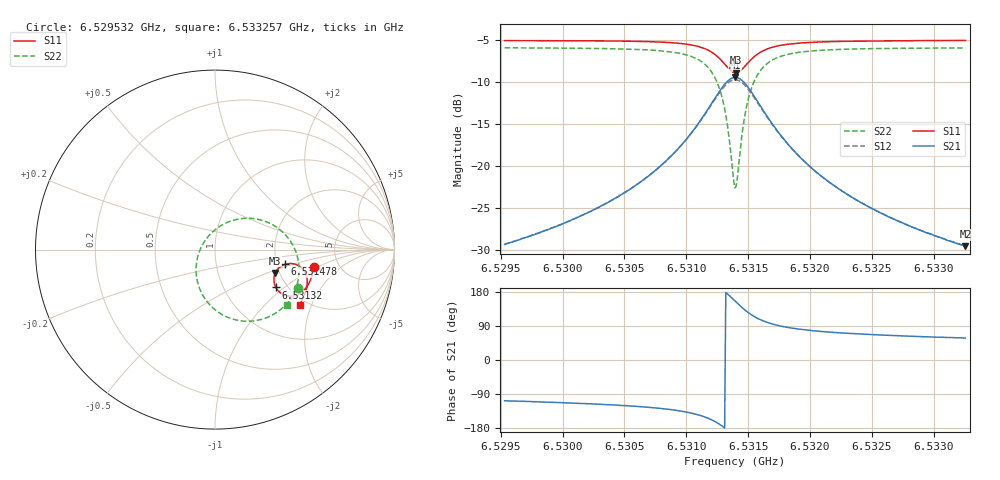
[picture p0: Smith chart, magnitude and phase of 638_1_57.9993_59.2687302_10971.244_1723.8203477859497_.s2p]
#  HZ  S  RI  R  50.00
! Rohde & Schwarz Vector Network Analyzer
! Rohde-Schwarz,ZNB20-2Port,1311601062101988,3.16
! Created: UTC 3/21/2024, 1:18:55 AM
! freq[Hz]  re:S11  im:S11  re:S21  im:S21  re:S12  im:S12  re:S22  im:S22
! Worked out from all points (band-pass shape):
!   401 points, 6.529532 GHz to 6.533257 GHz, reference 50 ohm
!   highest |S21| = -9.41 dB at 6.531394 GHz (marker M1); lowest = -29.5 dB at 6.533257 GHz (marker M2)
!   |S21| within 3 dB of the highest: 6.53121 GHz to 6.531582 GHz (372.2 kHz wide, 0.0057 % of centre)
!   lowest |S11| = -8.9 dB at 6.531403 GHz (marker M3), VSWR 2.13, Z = 95 - j28.5 ohm
!   |S11| at or under -10 dB: nowhere
!   |S22| runs from -22.6 to -5.9 dB; largest |S21 - S12| = 0.014
!   S11 on the Smith chart (normalised r, x): 6.529532 GHz: 3.27, -0.92; 6.53132 GHz: 1.75, -0.88; 6.531478 GHz: 2.21, -0.43; 6.533257 GHz: 1.83, -1.64
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6.5295316e9  0.5522 -0.0962  -0.0103 -0.0325  -0.011 -0.0323  0.4606 -0.2138
6.5301555e9  0.539 -0.1491  -0.0212 -0.0462  -0.0225 -0.0457  0.4247 -0.2724
6.5305094e9  0.5254 -0.1831  -0.0357 -0.0603  -0.0372 -0.0595  0.3871 -0.3154
6.5307795e9  0.5068 -0.2137  -0.0597 -0.0781  -0.062 -0.0762  0.3329 -0.3571
6.531003e9  0.4748 -0.2436  -0.1071 -0.0981  -0.1101 -0.0942  0.2384 -0.3937
6.5311613e9  0.4247 -0.2596  -0.1854 -0.0999  -0.1873 -0.0919  0.0968 -0.3865
6.5312544e9  0.3745 -0.2475  -0.2623 -0.0625  -0.2597 -0.0511  -0.0284 -0.308
6.5312916e9  0.3527 -0.2303  -0.2942 -0.0266  -0.2882 -0.0151  -0.0748 -0.2418
6.5313196e9  0.3388 -0.2108  -0.313 0.0108  -0.3042 0.0213  -0.0986 -0.1761
6.5313754e9  0.3285 -0.1582  -0.3192 0.1058  -0.3064 0.111  -0.0903 -0.0193
6.5313941e9  0.3327 -0.1394  -0.3086 0.1386  -0.2955 0.1415  -0.067 0.0318
6.5314034e9  0.3362 -0.1304  -0.3009 0.1539  -0.2878 0.1557  -0.0516 0.0557
6.5314127e9  0.3406 -0.122  -0.2919 0.1686  -0.279 0.1691  -0.0342 0.0776
6.5314499e9  0.3657 -0.0943  -0.2441 0.2145  -0.2337 0.2115  0.0517 0.144
6.5314779e9  0.3885 -0.0824  -0.2029 0.234  -0.1947 0.2298  0.1227 0.1688
6.5315431e9  0.4383 -0.0792  -0.116 0.2388  -0.112 0.2346  0.2681 0.1614
6.5316362e9  0.4827 -0.1026  -0.0407 0.2032  -0.039 0.2009  0.3893 0.0853
6.5317759e9  0.508 -0.1421  0.00353 0.1488  0.00474 0.1478  0.4541 -0.0232
6.532018e9  0.5141 -0.1893  0.0209 0.0945  0.0221 0.0941  0.4682 -0.1338
6.5323253e9  0.5069 -0.2282  0.0225 0.0622  0.0236 0.0619  0.4541 -0.2069
6.5326419e9  0.4958 -0.2585  0.0211 0.0449  0.0218 0.0447  0.436 -0.2523
6.5332565e9  0.4712 -0.3059  0.0177 0.0283  0.0184 0.028  0.401 -0.3103
